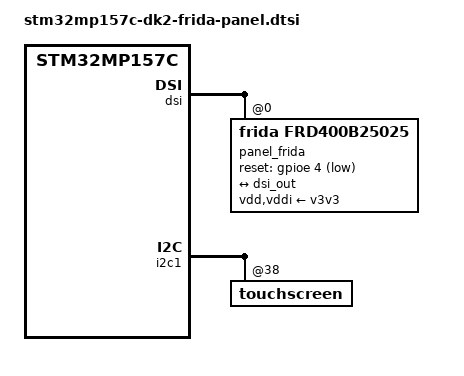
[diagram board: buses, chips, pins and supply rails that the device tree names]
// SPDX-License-Identifier: (GPL-2.0-only OR BSD-3-Clause)
/*
 * STM32MP157C-DK2: replace the reference MB1166 OTM8009A panel with the
 * FRIDA FRD397B25009 (Novatek NT35510) panel actually fitted to this board.
 *
 * The stock stm32mp157c-dk2.dts hardcodes an "orisetech,otm8009a" DSI panel
 * (the MB1166 reference display). Our display is a FRIDA NT35510, which needs
 * a different init sequence and runs in DSI video-burst mode. Sending the
 * OTM8009A init to it leaves the panel dark even though DRM/Weston come up.
 *
 * The only FRIDA NT35510 variant supported by the panel-novatek-nt35510
 * driver is "frida,frd400b25025"; the FRD397B25009 is electrically the same
 * NT35510 controller, so we reuse that compatible as the starting point.
 *
 * - Delete the OTM8009A panel node.
 * - Add the NT35510 panel (vdd/vddi supplies + reset gpio).
 * - Re-point the DSI output endpoint to the new panel.
 * - Drop the dangling 'panel' phandle from the ft6236 touch node, which
 *   referenced the now-deleted OTM8009A.
 */

&dsi {
	/delete-node/ panel-otm8009a@0;

	panel_frida: panel@0 {
		compatible = "frida,frd400b25025";
		reg = <0>;
		vdd-supply = <&v3v3>;
		vddi-supply = <&v3v3>;
		reset-gpios = <&gpioe 4 GPIO_ACTIVE_LOW>;
		status = "okay";

		port {
			frida_panel_in: endpoint {
				remote-endpoint = <&dsi_out>;
			};
		};
	};
};

&dsi_out {
	remote-endpoint = <&frida_panel_in>;
};

&i2c1 {
	touchscreen@38 {
		/delete-property/ panel;
	};
};
